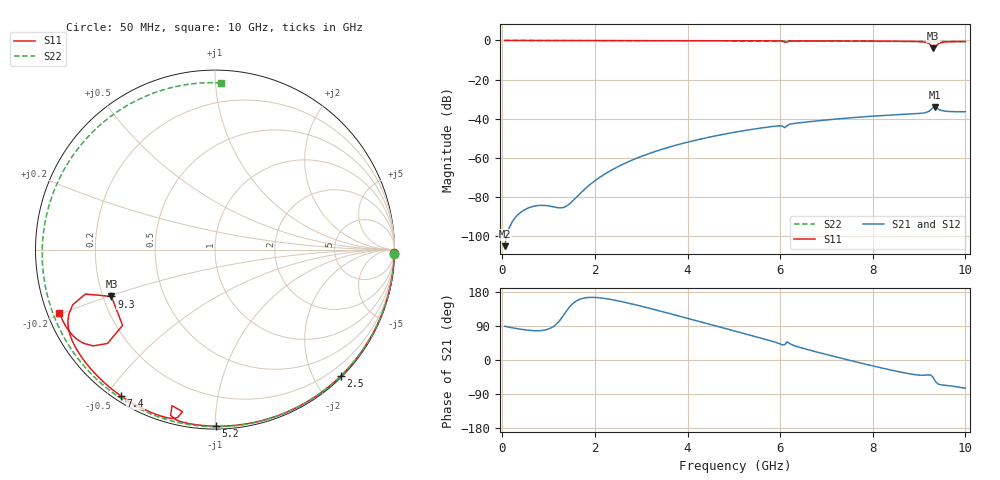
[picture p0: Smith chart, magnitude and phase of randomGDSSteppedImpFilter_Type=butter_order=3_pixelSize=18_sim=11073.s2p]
! freq	dB(S11)	phase(S11)	dB(S12)	phase(S12)
!  dB(S21)	phase(S21)	dB(S22)	phase(S22)
!S-par simulation data
#  GHz  S  DB  R 50
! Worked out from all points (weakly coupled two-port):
!   200 points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, 50 MHz to 10 GHz, reference 50 ohm
!   highest |S21| = -34.16 dB at 9.35 GHz (marker M1); lowest = -105.1 dB at 50 MHz (marker M2)
!   lowest |S11| = -4.0 dB at 9.3 GHz (marker M3), VSWR 4.45, Z = 11.7 - j10.2 ohm
!   |S11| at or under -10 dB: nowhere
!   |S22| runs from -0.6 to 0.0 dB; largest |S21 - S12| = 0
!   S11 on the Smith chart (normalised r, x): 50 MHz: open; 2.5 GHz: 0.02, -2.41; 5.2 GHz: 0.02, -1.01; 7.4 GHz: 0.02, -0.55; 9.3 GHz: 0.23, -0.20; 10 GHz: 0.03, -0.20
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0.05  -0.00 -0.9  -105.13 89.0  -105.13 89.0  -0.00 -1.5
0.8  -0.02 -14.7  -84.31 77.3  -84.31 77.3  -0.03 -23.7
1.6  -0.04 -29.2  -80.09 155.9  -80.09 155.9  -0.06 -46.7
1.75  -0.04 -31.9  -76.62 163.2  -76.62 163.2  -0.06 -50.9
2.5  -0.06 -45.1  -64.48 156.1  -64.48 156.1  -0.09 -71.6
3.4  -0.08 -60.4  -55.98 129.4  -55.98 129.4  -0.12 -95.2
4.2  -0.10 -73.7  -50.84 103.4  -50.84 103.4  -0.16 -115.4
5.05  -0.13 -87.3  -46.78 75.5  -46.78 75.5  -0.20 -136.2
5.2  -0.14 -89.7  -46.17 70.5  -46.17 70.5  -0.21 -139.8
5.95  -0.22 -102.3  -43.69 44.6  -43.69 44.6  -0.26 -158.1
6.1  -0.90 -105.4  -44.57 40.5  -44.57 40.5  -0.27 -161.8
6.15  -0.72 -101.3  -43.63 47.8  -43.63 47.8  -0.28 -163.0
6.7  -0.22 -111.9  -41.35 24.0  -41.35 24.0  -0.32 -176.7
7.4  -0.27 -122.6  -39.77 2.2  -39.77 2.2  -0.38 165.3
8.35  -0.37 -137.4  -38.18 -25.4  -38.18 -25.4  -0.48 139.1
9.15  -0.99 -156.0  -36.82 -39.9  -36.82 -39.9  -0.56 115.2
9.25  -2.34 -161.1  -35.48 -39.7  -35.48 -39.7  -0.57 112.1
9.3  -3.97 -155.7  -34.36 -45.3  -34.36 -45.3  -0.57 110.5
9.35  -3.53 -140.7  -34.16 -55.9  -34.16 -55.9  -0.58 108.9
9.4  -1.99 -138.9  -34.85 -62.5  -34.85 -62.5  -0.58 107.4
9.55  -0.77 -146.6  -36.09 -66.5  -36.09 -66.5  -0.59 102.6
10  -0.57 -157.9  -36.41 -74.5  -36.41 -74.5  -0.64 87.8
